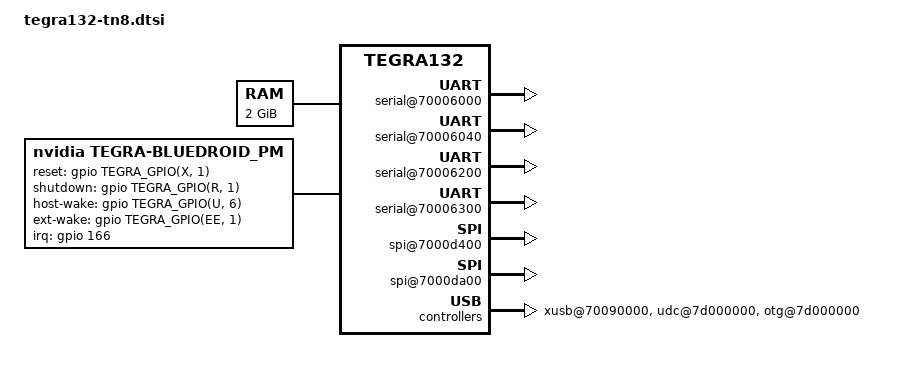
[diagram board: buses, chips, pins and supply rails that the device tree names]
#include "tegra132.dtsi"

/ {
	serial@70006000 {
		compatible = "nvidia,tegra114-hsuart";
		status = "okay";
	};

	serial@70006040 {
		compatible = "nvidia,tegra114-hsuart";
		status = "okay";
	};

	serial@70006200 {
		compatible = "nvidia,tegra114-hsuart";
		status = "okay";
	};

	serial@70006300 {
		compatible = "nvidia,tegra20-uart";
		console-port;
		sqa-automation-port;
		status = "okay";
	};

	i2c@7000d000 {
		nvidia,bit-banging-xfer-after-shutdown;
	};

	spi@7000d400 {
		status = "okay";
		spi-max-frequency = <25000000>;
	};

	spi@7000da00 {
		status = "okay";
		spi-max-frequency = <25000000>;
	};

	xusb@70090000 {
		/* nvidia,uses_external_pmic;
		nvidia,gpio_controls_muxed_ss_lanes; */
		nvidia,gpio_ss1_sata = <0>;
		nvidia,portmap = <0x101>; /* SSP0, USB2P0 */
		nvidia,ss_portmap = <0x0>; /* SSP0 on USB2P0 */
		nvidia,lane_owner = <4>; /* USB3P0 */
		nvidia,ulpicap = <0>; /* No ulpi support. can we remove */
		hvdd_usb-supply = <&ldousb_reg>;
		avdd_pll_utmip-supply = <&palmas_smps8>;
		vddio_hsic-supply = <&ldo5_reg>;
		avddio_usb-supply = <&palmas_smps10_out2>;
		status = "okay";
	};

	memory@0x80000000 {
		device_type = "memory";
		reg = <0x0 0x80000000 0x0 0x80000000>;
	};

	udc@7d000000 {
		nvidia,port-otg;
		nvidia,charging-supported;
		nvidia,enable-pmu-vbus-detection;
		nvidia,id-detection-type = <1>;
		nvidia,qc2-input-voltage = <1>;
		nvidia,qc2-current-limit-ma = <1200>;
		nvidia,dcp-current-limit-ma = <1800>;
		extcon-cables = <&palmas_extcon 0 &palmas_extcon 1>;
		extcon-cable-names = "vbus", "id";
		#extcon-cells = <1>;
		avdd_usb-supply = <&ldousb_reg>;
		avdd_pll_utmip-supply = <&palmas_smps8>;
		usb_bat_chg-supply = <&battery_charger>;
		status = "okay";
	};

	otg@7d000000 {
		nvidia,enable-pmu-vbus-detection;
		nvidia,id-detection-type = <1>;
		extcon-cables = <&palmas_extcon 0 &palmas_extcon 1>;
		extcon-cable-names = "vbus", "id";
		#extcon-cells = <1>;
		usb_vbus-supply = <&usb0_vbus>;
		status = "okay";
	};

	psy_extcon {
		compatible = "power-supply-extcon";
		extcon-cables = <&udc 1 &udc 2 &udc 3
				&udc 4 &udc 5 &udc 6
				&udc 7 &udc 8 &udc 9
				&udc 10 &otg 0>;
		extcon-cable-names = "usb-charger", "ta-charger", "maxim-charger",
				"qc2-charger", "downstream-charger","fast-charger",
				"slow-charger", "apple-500ma", "apple-1a",
				"apple-2a", "y-cable";
	};

	bluedroid_pm {
		compatible = "nvidia,tegra-bluedroid_pm";
		id = <0>;
		bluedroid_pm,reset-gpio = <&gpio TEGRA_GPIO(X, 1) 0>;
		bluedroid_pm,shutdown-gpio = <&gpio TEGRA_GPIO(R, 1) 0>;
		bluedroid_pm,host-wake-gpio = <&gpio TEGRA_GPIO(U, 6) 0>;
		bluedroid_pm,ext-wake-gpio = <&gpio TEGRA_GPIO(EE, 1) 0>;
		interrupt-parent = <&gpio>;
		interrupts = <166 0x01>;
	};

	modem {
		compatible = "nvidia,icera-i500";
		nvidia,boot-gpio = <&gpio TEGRA_GPIO(O, 5) GPIO_ACTIVE_LOW>;
		nvidia,mdm-power-report-gpio = <&gpio TEGRA_GPIO(K, 0) GPIO_ACTIVE_LOW>;
		nvidia,reset-gpio = <&gpio TEGRA_GPIO(S, 3) GPIO_ACTIVE_LOW>;
		nvidia,mdm-en-gpio = <&gpio TEGRA_GPIO(S, 4) GPIO_ACTIVE_HIGH>;
		nvidia,mdm-sar0-gpio = <&gpio TEGRA_GPIO(G, 2) GPIO_ACTIVE_LOW>;
		status = "disabled";
	};
};
